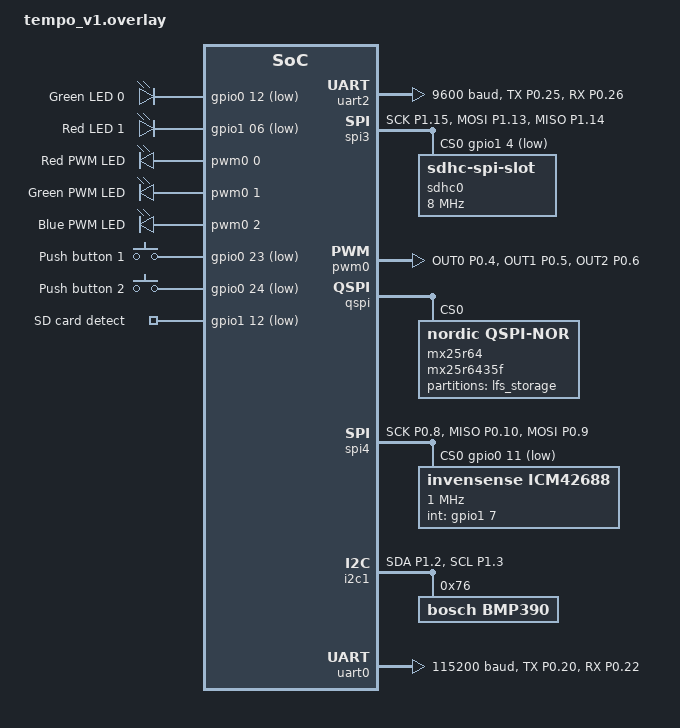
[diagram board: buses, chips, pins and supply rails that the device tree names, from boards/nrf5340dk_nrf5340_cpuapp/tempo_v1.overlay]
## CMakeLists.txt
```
#
# Copyright (c) 2018 Nordic Semiconductor
#
# SPDX-License-Identifier: LicenseRef-Nordic-5-Clause
#
cmake_minimum_required(VERSION 3.20.0)

find_package(Zephyr REQUIRED HINTS $ENV{ZEPHYR_BASE})
project(tempo-bt-v1)

# Generate version header
set(VERSION_HEADER ${CMAKE_CURRENT_BINARY_DIR}/include/generated/app_version.h)
add_custom_command(
    OUTPUT ${VERSION_HEADER}
    COMMAND ${PYTHON_EXECUTABLE} ${CMAKE_CURRENT_SOURCE_DIR}/scripts/gen_version.py ${VERSION_HEADER}
    DEPENDS ${CMAKE_CURRENT_SOURCE_DIR}/app.version
    WORKING_DIRECTORY ${CMAKE_CURRENT_SOURCE_DIR}
    COMMENT "Generating version header"
)
add_custom_target(version_header DEPENDS ${VERSION_HEADER})
add_dependencies(app version_header)

# NORDIC SDK APP START
# Add generated include directory
target_include_directories(app PRIVATE ${CMAKE_CURRENT_BINARY_DIR}/include)

# Main application sources
target_sources(app PRIVATE 
    src/main.c
    src/app_init.c
    src/events.c
    src/mcumgr_custom.c
    src/ble_mcumgr.c
)

# Configuration sources
target_sources(app PRIVATE
    src/config/settings.c
)

# Service layer sources
target_sources(app PRIVATE
    src/services/timebase.c
    src/services/gnss_m10q.c
    src/services/imu_icm42688.c
    src/services/orientation.c
    src/services/baro_bmp390.c
    src/services/aggregator.c
    src/services/storage.c
    src/services/storage_fatfs.c
    src/services/storage_littlefs.c
    src/services/logger.c
    src/services/file_writer.c
    src/services/led.c
)

# Utility sources
target_sources(app PRIVATE
    src/util/nmea_checksum.c
    src/fusion.c
    tests/test_imu.c
)

# NORDIC SDK APP END
zephyr_library_include_directories(.)
target_include_directories(app PRIVATE include)
```

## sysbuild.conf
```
SB_CONFIG_BOOTLOADER_MCUBOOT=y
SB_CONFIG_PM_EXTERNAL_FLASH_MCUBOOT_SECONDARY=y
SB_CONFIG_MCUBOOT_NRF53_MULTI_IMAGE_UPDATE=y
SB_CONFIG_SECURE_BOOT_NETCORE=y

# https://academy.nordicsemi.com/simultaneous-updates-for-both-cores-of-the-nrf5340/
SB_CONFIG_MCUBOOT_UPDATEABLE_IMAGES=2
SB_CONFIG_NETCORE_APP_UPDATE=y
SB_CONFIG_MCUBOOT_NRF53_MULTI_IMAGE_UPDATE=y
SB_CONFIG_MCUBOOT_MODE_OVERWRITE_ONLY=y
```

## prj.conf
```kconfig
#
# Copyright (c) 2018 Nordic Semiconductor
#
# SPDX-License-Identifier: LicenseRef-Nordic-5-Clause
#

# System configuration
CONFIG_MAIN_STACK_SIZE=10240
CONFIG_SYSTEM_WORKQUEUE_STACK_SIZE=4096
CONFIG_ISR_STACK_SIZE=2048
CONFIG_HEAP_MEM_POOL_SIZE=16384

# Thread configuration
CONFIG_INIT_STACKS=y
CONFIG_THREAD_STACK_INFO=y
CONFIG_THREAD_MONITOR=y
CONFIG_THREAD_NAME=y

# Logging configuration
CONFIG_LOG=y
CONFIG_LOG_BACKEND_UART=n
CONFIG_LOG_DEFAULT_LEVEL=3
CONFIG_LOG_MODE_IMMEDIATE=y
CONFIG_LOG_BACKEND_RTT=y
CONFIG_USE_SEGGER_RTT=y
CONFIG_SEGGER_RTT_BUFFER_SIZE_UP=4096
CONFIG_RTT_CONSOLE=y

# Floating Point and math support
CONFIG_FPU=y
CONFIG_CBPRINTF_FP_SUPPORT=y
CONFIG_POSIX_API=y

# Enable sensor drivers
CONFIG_SENSOR=y
CONFIG_ICM42688=y
CONFIG_SENSOR_LOG_LEVEL_DBG=n 

# Optional: Enable trigger/interrupt mode
# CONFIG_ICM42688_TRIGGER=y
# CONFIG_ICM42688_TRIGGER_GLOBAL_THREAD=y

# Drivers
CONFIG_GPIO=y
CONFIG_I2C=y
CONFIG_SPI=y
#CONFIG_SPI_NRFX=y

CONFIG_SERIAL=y
CONFIG_UART_ASYNC_API=y
CONFIG_UART_INTERRUPT_DRIVEN=n
# support reconfiguration to move to faster baudrate after init
CONFIG_UART_USE_RUNTIME_CONFIGURE=y

CONFIG_PWM=y

# Button and LED library
CONFIG_DK_LIBRARY=y

# Flash and QSPI configuration
CONFIG_FLASH=y
CONFIG_FLASH_PAGE_LAYOUT=y
CONFIG_FLASH_MAP=y
CONFIG_NORDIC_QSPI_NOR=y
CONFIG_NORDIC_QSPI_NOR_FLASH_LAYOUT_PAGE_SIZE=4096
CONFIG_NORDIC_QSPI_NOR_STACK_WRITE_BUFFER_SIZE=16
CONFIG_PM_DEVICE=y

# NVS Settings
CONFIG_SETTINGS=y
CONFIG_SETTINGS_NVS=y
CONFIG_NVS=y
CONFIG_MPU_ALLOW_FLASH_WRITE=y

# File system configuration
CONFIG_FILE_SYSTEM=y
CONFIG_FILE_SYSTEM_LITTLEFS=y
CONFIG_FS_LITTLEFS_NUM_FILES=4
CONFIG_FS_LITTLEFS_NUM_DIRS=4

# SD Card and FAT filesystem
CONFIG_DISK_ACCESS=y
CONFIG_DISK_DRIVER_SDMMC=y
CONFIG_SDHC=y
CONFIG_SDMMC_STACK=y
CONFIG_FAT_FILESYSTEM_ELM=y
CONFIG_FS_FATFS_EXFAT=y  
CONFIG_FS_FATFS_LFN=y   
CONFIG_FS_FATFS_LFN_MODE_HEAP=y
CONFIG_FS_FATFS_MAX_LFN=255
CONFIG_FS_FATFS_CODEPAGE=437  
CONFIG_FS_FATFS_NUM_FILES=8
CONFIG_FS_FATFS_NUM_DIRS=8 
CONFIG_FS_FATFS_REENTRANT=y

# Bluetooth LE configuration
CONFIG_BT=y
CONFIG_BT_PERIPHERAL=y
CONFIG_BT_DEVICE_NAME="Tempo-BT-0004"
CONFIG_BT_MAX_CONN=2
CONFIG_BT_LBS=y
CONFIG_BT_LBS_POLL_BUTTON=y
CONFIG_BT_GATT_CLIENT=y
CONFIG_BT_RX_STACK_SIZE=2048

# BLE connection parameters
CONFIG_BT_PERIPHERAL_PREF_MIN_INT=800
CONFIG_BT_PERIPHERAL_PREF_MAX_INT=800
CONFIG_BT_PERIPHERAL_PREF_LATENCY=0
CONFIG_BT_PERIPHERAL_PREF_TIMEOUT=400
CONFIG_BT_GAP_AUTO_UPDATE_CONN_PARAMS=y

# BLE PHY and data length updates
CONFIG_BT_USER_PHY_UPDATE=y
CONFIG_BT_USER_DATA_LEN_UPDATE=y

# BLE buffer configuration for mcumgr
CONFIG_BT_BUF_ACL_TX_SIZE=251
CONFIG_BT_BUF_ACL_RX_SIZE=502
CONFIG_BT_L2CAP_TX_MTU=498
CONFIG_BT_L2CAP_TX_BUF_COUNT=8
CONFIG_BT_ATT_PREPARE_COUNT=2

# mcumgr configuration
CONFIG_ZCBOR=y
CONFIG_MCUMGR=y
CONFIG_MCUMGR_GRP_FS=y
CONFIG_MCUMGR_GRP_IMG=y
CONFIG_MCUMGR_GRP_OS=y
CONFIG_MCUMGR_GRP_STAT=y

# SMP over Bluetooth
CONFIG_MCUMGR_TRANSPORT_BT=y
CONFIG_MCUMGR_TRANSPORT_BT_PERM_RW=y
CONFIG_MCUMGR_TRANSPORT_BT_CONN_PARAM_CONTROL=y

# File system management
CONFIG_MCUMGR_GRP_FS_DL_CHUNK_SIZE=256
CONFIG_MCUMGR_GRP_FS_DL_CHUNK_SIZE_LIMIT=y

# Image management for DFU
CONFIG_STREAM_FLASH=y
CONFIG_IMG_MANAGER=y
CONFIG_MCUBOOT_IMG_MANAGER=y
CONFIG_IMG_BLOCK_BUF_SIZE=512

# Shell configuration
#CONFIG_SHELL=y
#CONFIG_SHELL_BACKENDS=y
#CONFIG_SHELL_BACKEND_SERIAL=y
#CONFIG_SHELL_CMD_BUFF_SIZE=256
#CONFIG_NET_SHELL=n

CONFIG_SHELL=n

# mcumgr callbacks
CONFIG_MCUMGR_MGMT_NOTIFICATION_HOOKS=y
CONFIG_MCUMGR_GRP_FS_FILE_ACCESS_HOOK=y

# OS management
CONFIG_MCUMGR_GRP_OS_TASKSTAT=y
CONFIG_MCUMGR_GRP_OS_ECHO=y

# Statistics
CONFIG_STATS=y
CONFIG_STATS_NAMES=y
CONFIG_MCUMGR_GRP_STAT_MAX_NAME_LEN=32

# MCUboot support
CONFIG_BOOTLOADER_MCUBOOT=y
CONFIG_MCUBOOT_SIGNATURE_KEY_FILE="bootloader/mcuboot/root-rsa-2048.pem"
CONFIG_NCS_SAMPLE_MCUMGR_BT_OTA_DFU=y

# System features
CONFIG_REBOOT=y
```

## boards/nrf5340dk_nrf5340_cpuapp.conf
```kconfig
#
# Copyright (c) 2018 Nordic Semiconductor
#
# SPDX-License-Identifier: LicenseRef-Nordic-5-Clause
#

# Logger module
CONFIG_LOG=y

# Button and LED library
CONFIG_DK_LIBRARY=y

# Floating Point Unit
CONFIG_FPU=y

# Bluetooth LE
CONFIG_BT=y
CONFIG_BT_PERIPHERAL=y
CONFIG_BT_DEVICE_NAME="Tempo-BT-0004"
CONFIG_BT_LBS=y
CONFIG_BT_LBS_POLL_BUTTON=y
CONFIG_BT_GATT_CLIENT=y

# STEP 5 - Configure your preferred connection parameters
CONFIG_BT_PERIPHERAL_PREF_MIN_INT=800
CONFIG_BT_PERIPHERAL_PREF_MAX_INT=800
CONFIG_BT_PERIPHERAL_PREF_LATENCY=0
CONFIG_BT_PERIPHERAL_PREF_TIMEOUT=400
CONFIG_BT_GAP_AUTO_UPDATE_CONN_PARAMS=y

# STEP 8 - Enable PHY updates.
CONFIG_BT_USER_PHY_UPDATE=y

# STEP 12 - Update Data Length and MTU
CONFIG_BT_USER_DATA_LEN_UPDATE=y
#CONFIG_BT_BUF_ACL_RX_SIZE=251
CONFIG_BT_BUF_ACL_RX_SIZE=502
#CONFIG_BT_BUF_ACL_TX_SIZE=251
#CONFIG_BT_L2CAP_TX_MTU=247
CONFIG_BT_BUF_ACL_TX_SIZE=251
CONFIG_BT_L2CAP_TX_MTU=498

# Increase stack size for the main thread, System Workqueue, and BT RX thread
CONFIG_SYSTEM_WORKQUEUE_STACK_SIZE=2048
CONFIG_MAIN_STACK_SIZE=2048
CONFIG_BT_RX_STACK_SIZE=2048
```

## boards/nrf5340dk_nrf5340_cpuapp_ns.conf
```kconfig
#
# Copyright (c) 2018 Nordic Semiconductor
#
# SPDX-License-Identifier: LicenseRef-Nordic-5-Clause
#

# Logger module
CONFIG_LOG=y

# Button and LED library
CONFIG_DK_LIBRARY=y

# Floating Point Unit
CONFIG_FPU=y

# Bluetooth LE
CONFIG_BT=y
CONFIG_BT_PERIPHERAL=y
CONFIG_BT_DEVICE_NAME="Tempo-BT-0004"
CONFIG_BT_LBS=y
CONFIG_BT_LBS_POLL_BUTTON=y
CONFIG_BT_GATT_CLIENT=y

# STEP 5 - Configure your preferred connection parameters
CONFIG_BT_PERIPHERAL_PREF_MIN_INT=800
CONFIG_BT_PERIPHERAL_PREF_MAX_INT=800
CONFIG_BT_PERIPHERAL_PREF_LATENCY=0
CONFIG_BT_PERIPHERAL_PREF_TIMEOUT=400
CONFIG_BT_GAP_AUTO_UPDATE_CONN_PARAMS=y

# STEP 8 - Enable PHY updates.
CONFIG_BT_USER_PHY_UPDATE=y

# STEP 12 - Update Data Length and MTU
CONFIG_BT_USER_DATA_LEN_UPDATE=y
CONFIG_BT_BUF_ACL_RX_SIZE=251
CONFIG_BT_BUF_ACL_TX_SIZE=251
CONFIG_BT_L2CAP_TX_MTU=247

# Increase stack size for the main thread, System Workqueue, and BT RX thread
CONFIG_SYSTEM_WORKQUEUE_STACK_SIZE=2048
CONFIG_MAIN_STACK_SIZE=2048
CONFIG_BT_RX_STACK_SIZE=2048
```

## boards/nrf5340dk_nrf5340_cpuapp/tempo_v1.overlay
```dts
/*
 * Copyright (c) 2025 Riley Rainey
 * SPDX-License-Identifier: Apache-2.0
 *
 * Tempo-BT V1 Board Overlay
 * Golden board definition
 */

 #include <zephyr/dt-bindings/sensor/icm42688.h>

 /* 
&rtc0 {
    status = "okay";
};
*/

/* UART for SAM-M10Q GNSS */
&uart2 {
    status = "okay";
    current-speed = <9600>;  /* SAM-M10Q default baud rate */
    pinctrl-0 = <&uart2_default>;
    pinctrl-1 = <&uart2_sleep>;
    pinctrl-names = "default", "sleep";
    /* No hw-flow-control property = flow control disabled */
};

/* SPI3 for SD Card */
&spi3 {
    compatible = "nordic,nrf-spim";
    status = "okay";
    cs-gpios = <&gpio1 4 (GPIO_ACTIVE_LOW | GPIO_PULL_UP)>;  /* P1.04 for CS */
    pinctrl-0 = <&spi3_default>;
    pinctrl-1 = <&spi3_sleep>;
    pinctrl-names = "default", "sleep";
    
    /* SD Card using SPI mode */
    sdhc0: sdhc@0 {
        compatible = "zephyr,sdhc-spi-slot";
        reg = <0>;
        spi-max-frequency = <8000000>;  /* Start at 8MHz, SD cards support up to 25MHz in SPI mode */
        mmc {
            compatible = "zephyr,sdmmc-disk";
            disk-name = "SD";
            status = "okay";
        };
    };
};

/* Enable RGB LED */
&pwm0 {
    status = "okay";
    pinctrl-0 = <&pwm0_default>;
    pinctrl-1 = <&pwm0_sleep>;
    pinctrl-names = "default", "sleep";
};

/ {
    /* STANDARD LEDs */
    leds {
		compatible = "gpio-leds";
        status = "okay";
		led0: led_0 {
			gpios = <&gpio0 12 GPIO_ACTIVE_LOW>;
			label = "Green LED 0";
		};
		led1: led_1 {
			gpios = <&gpio1 06 GPIO_ACTIVE_LOW>;
			label = "Red LED 1";
		};
	};

    /* RGB LED */
    pwmleds {
		compatible = "pwm-leds";
		status = "okay";
		pwm_led0: pwm_led_0 {
			/* Try without polarity inversion first */
			pwms = <&pwm0 0 PWM_MSEC(20) PWM_POLARITY_NORMAL>;
			label = "Red PWM LED";
		};
		pwm_led1: pwm_led_1 {
			pwms = <&pwm0 1 PWM_MSEC(20) PWM_POLARITY_NORMAL>;
			label = "Green PWM LED";
		};
		pwm_led2: pwm_led_2 {
			pwms = <&pwm0 2 PWM_MSEC(20) PWM_POLARITY_NORMAL>;
			label = "Blue PWM LED";
		};
	};

    /* OPTIONAL HARDWARE-DEBOUNCED PUSHBUTTONS */
    buttons {
		compatible = "gpio-keys";
        status = "okay";
		button0: button_0 {
			gpios = <&gpio0 23 (GPIO_PULL_UP | GPIO_ACTIVE_LOW)>;
			label = "Push button 1";
			zephyr,code = <INPUT_KEY_0>;
		};
		button1: button_1 {
			gpios = <&gpio0 24 (GPIO_PULL_UP | GPIO_ACTIVE_LOW)>;
			label = "Push button 2";
			zephyr,code = <INPUT_KEY_1>;
		};
	};

    sdcard_detect: sdcard_detect {
        compatible = "gpio-keys";
        sdcard_detect_pin: sdcard_detect_pin {
            gpios = <&gpio1 12 (GPIO_PULL_UP | GPIO_ACTIVE_LOW)>; 
            label = "SD card detect";
        };
    };

    gpio_fwd: nrf-gpio-forwarder {
		compatible = "nordic,nrf-gpio-forwarder";
		status = "okay";

		uart {
			gpios = <&gpio1 1 0>, <&gpio1 0 0>, <&gpio0 28 0>, <&gpio0 29 0>;
		};
	};

    aliases {
        imu0 = &icm42688;
        spi-flash0 = &mx25r64;
        sw0 = &button0;
        sw1 = &button1;
        /* rtc0 = &rtc0; */
    };

    chosen {
        /* Zephyr console on UART0 (default) */
        zephyr,console = &uart0;
        zephyr,shell-uart = &uart0;
        nordic,pm-ext-flash = &mx25r64;
    };
};

/* QSPI NOR Flash - MX25R6435F (64 Mbit) */
&qspi {
    status = "okay";
    
    mx25r64: mx25r6435f@0 {
        status = "okay";
        compatible = "nordic,qspi-nor";
        reg = <0>;
        
        /* MX25R6435F supports up to 80MHz in SDR mode */
        sck-frequency = <8000000>; /* Start conservative at 8MHz */
        
        /* JEDEC ID for MX25R6435F */
        jedec-id = [c2 28 17];
        
        /* 64 Mbit = 8 MByte */
        size = <67108864>;
        
        /* Memory organization */
        has-dpd;
        t-enter-dpd = <10000>;
        t-exit-dpd = <35000>;
        
        /* Quad mode configuration */
        quad-enable-requirements = "S1B6";
        
        /* Read modes supported */
        readoc = "read4io";
        writeoc = "pp4io";
        
        partitions {
            compatible = "fixed-partitions";
            #address-cells = <1>;
            #size-cells = <1>;
            
            lfs_storage: partition@0 {
                label = "lfs_storage";
                reg = <0x00000000 0x00800000>;  /* 8MB */
            };
        };
    };
};

/* SPI4 for IMU - Task 16 */
&spi4 {
    compatible = "nordic,nrf-spim";
    status = "okay";
    cs-gpios = <&gpio0 11 GPIO_ACTIVE_LOW>;  /* P0.11 for CS */
    pinctrl-0 = <&spi4_default>;
    pinctrl-1 = <&spi4_sleep>;
    pinctrl-names = "default", "sleep";
    
    /* ICM-42688-V; requires driver patch for WHO_AM_I to correctly ID the chip */
    icm42688: icm42688@0 {
        compatible = "invensense,icm42688";
        status = "okay";
        reg = <0>;
        spi-max-frequency = <1000000>;
        int-gpios = <&gpio1 7 GPIO_ACTIVE_HIGH>;
        accel-pwr-mode = <ICM42688_DT_ACCEL_LN>;
        accel-fs = <ICM42688_DT_ACCEL_FS_16>;
        accel-odr = <ICM42688_DT_ACCEL_ODR_200>;
        gyro-pwr-mode= <ICM42688_DT_GYRO_LN>;
        gyro-fs = <ICM42688_DT_GYRO_FS_2000>;
        gyro-odr = <ICM42688_DT_GYRO_ODR_200>;
        zephyr,deferred-init;
    };
};

/* I2C1 for Barometer and Magnetometer */
&i2c1 {
	compatible = "nordic,nrf-twim";
	status = "okay";
	pinctrl-0 = <&i2c1_default>;
	pinctrl-1 = <&i2c1_sleep>;
	pinctrl-names = "default", "sleep";
    
    bmp390: bmp390@76 {
        compatible = "bosch,bmp390";
        reg = <0x76>;
        label = "BMP390";
    };
    
    /* 
    mmc5983ma: mmc5983ma@30 {
        compatible = "memsic,mmc5983ma";
        reg = <0x30>;
        label = "MMC5983MA";
    };
    */
};

/* APP_NORA UART */
&uart0 {
    status = "okay";
    current-speed = <115200>;
    pinctrl-0 = <&uart0_default>;
    pinctrl-1 = <&uart0_sleep>;
    pinctrl-names = "default", "sleep";
    /* No hw-flow-control property = flow control disabled */
};

/* UART for GNSS - Using uart2 */
&uart2 {
    status = "okay";
    current-speed = <9600>;  /* SAM-M10Q default baud rate */
    pinctrl-0 = <&uart2_default>;
    pinctrl-1 = <&uart2_sleep>;
    pinctrl-names = "default", "sleep";
    /* No hw-flow-control property = flow control disabled */
};

/* uart2 pin configuration - TX/RX only, RTS/CTS explicitly disconnected */
&pinctrl {

    i2c1_default: i2c1_default {
		group1 {
			psels = <NRF_PSEL(TWIM_SDA, 1, 2)>,
				<NRF_PSEL(TWIM_SCL, 1, 3)>;
		};
	};

	i2c1_sleep: i2c1_sleep {
		group1 {
			psels = <NRF_PSEL(TWIM_SDA, 1, 2)>,
				<NRF_PSEL(TWIM_SCL, 1, 3)>;
			low-power-enable;
		};
	};

    uart0_default: uart0_default {
        group1 {
            psels = <NRF_PSEL(UART_TX, 0, 20)>,   /* P0.20 APP_NORA_TX */
                    <NRF_PSEL(UART_RX, 0, 22)>;   /* P0.22 APP_NORA_RX */
        };
        group2 {
            psels = <NRF_PSEL(UART_RTS, 0, 0xFFFFFFFF)>,  /* Disconnected */
                    <NRF_PSEL(UART_CTS, 0, 0xFFFFFFFF)>;  /* Disconnected */
        };
    };

    uart0_sleep: uart0_sleep {
        group1 {
            psels = <NRF_PSEL(UART_TX, 0, 20)>,
                    <NRF_PSEL(UART_RX, 0, 22)>;
            low-power-enable;
        };
        group2 {
            psels = <NRF_PSEL(UART_RTS, 0, 0xFFFFFFFF)>,
                    <NRF_PSEL(UART_CTS, 0, 0xFFFFFFFF)>;
            low-power-enable;
        };
    };

    uart2_default: uart2_default {
        group1 {
            psels = <NRF_PSEL(UART_TX, 0, 25)>,   /* P0.25 (VCOM1_TX) -> GNSS RX */
                    <NRF_PSEL(UART_RX, 0, 26)>;   /* P0.26 (VCOM1_RX) <- GNSS TX */
        };
        group2 {
            psels = <NRF_PSEL(UART_RTS, 0, 0xFFFFFFFF)>,  /* Disconnected */
                    <NRF_PSEL(UART_CTS, 0, 0xFFFFFFFF)>;  /* Disconnected */
        };
    };

    uart2_sleep: uart2_sleep {
        group1 {
            psels = <NRF_PSEL(UART_TX, 0, 25)>,
                    <NRF_PSEL(UART_RX, 0, 26)>;
            low-power-enable;
        };
        group2 {
            psels = <NRF_PSEL(UART_RTS, 0, 0xFFFFFFFF)>,
                    <NRF_PSEL(UART_CTS, 0, 0xFFFFFFFF)>;
            low-power-enable;
        };
    };

    spi3_default: spi3_default {
        group1 {
            psels = <NRF_PSEL(SPIM_SCK, 1, 15)>,  /* P1.15 FLASH_SCK */
                    <NRF_PSEL(SPIM_MOSI, 1, 13)>; /* P1.13 FLASH_MOSI */
        };
        group2 {
            psels = <NRF_PSEL(SPIM_MISO, 1, 14)>;  /* P1.14 FLASH_MISO */
            bias-pull-up;                          /* Enable pull-up on MISO */
        };
    };

    spi3_sleep: spi3_sleep {
        group1 {
            psels = <NRF_PSEL(SPIM_SCK, 1, 15)>,
                    <NRF_PSEL(SPIM_MOSI, 1, 13)>;
        };
        group2 {
            psels = <NRF_PSEL(SPIM_MISO, 1, 14)>;
            bias-pull-up;  /* Enable pull-up on MISO */
        };
    };

    spi4_default: spi4_default {
		group1 {
			psels = <NRF_PSEL(SPIM_SCK, 0, 8)>,// mikroBUS slot 1
				<NRF_PSEL(SPIM_MISO, 0, 10)>,// mikroBUS slot 1
				<NRF_PSEL(SPIM_MOSI, 0, 9)>;// mikroBUS slot 1
		};
	};

	spi4_sleep: spi4_sleep {
		group1 {
			psels = <NRF_PSEL(SPIM_SCK, 0, 8)>,// mikroBUS slot 1
				<NRF_PSEL(SPIM_MISO, 0, 10)>,// mikroBUS slot 1
				<NRF_PSEL(SPIM_MOSI, 0, 9)>;// mikroBUS slot 1
			low-power-enable;
		};
	};

    pwm0_default: pwm0_default {
		group1 {
			psels = <NRF_PSEL(PWM_OUT0, 0, 4)>,
				<NRF_PSEL(PWM_OUT1, 0, 5)>,
				<NRF_PSEL(PWM_OUT2, 0, 6)>;
			nordic,invert; 
		};
	};

	pwm0_sleep: pwm0_sleep {
		group1 {
			psels = <NRF_PSEL(PWM_OUT0, 0, 4)>,
				<NRF_PSEL(PWM_OUT1, 0, 5)>,
				<NRF_PSEL(PWM_OUT2, 0, 6)>;
			nordic,invert;
			low-power-enable;
		};
	};
};

&button2 {
    status = "disabled";
};

&button3 {
    status = "disabled";
};
```

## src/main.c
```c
/*
 * SPDX-License-Identifier: Apache-2.0
 * 
 * Tempo-BT V1 - Main Application Entry
 */

#include <zephyr/kernel.h>
#include <zephyr/logging/log.h>
#include <zephyr/drivers/uart.h>
#include <zephyr/device.h>
#include <zephyr/drivers/flash.h>
#include <zephyr/drivers/gpio.h>
#include <zephyr/fs/fs.h>
#include <string.h>

#include "app_init.h"
#include "app/events.h"
#include "config/settings.h"

#include "services/timebase.h"
#include "services/storage.h"
#include "services/file_writer.h"
#include "services/gnss.h"
#include "services/imu.h"
#include "services/baro.h"
#include "services/logger.h"
#include "services/led.h"
#include "services/aggregator.h"
#include "util/nmea_checksum.h"

LOG_MODULE_REGISTER(main, LOG_LEVEL_INF);

 /* Register barometer callback with logger for takeoff detection */
//extern void logger_register_baro_callback(baro_data_callback_t callback);
//extern void logger_baro_handler(const baro_sample_t *sample);

/* Also register with aggregator for logging */
extern void aggregator_register_baro_callback(baro_data_callback_t callback);

/*
 * Button handling for logger control
 */

#define BUTTON_DEBOUNCE_DELAY_MS 50
#define BUTTON_LONG_PRESS_MS     2000

/* Button GPIO specs from device tree */
#define SW0_NODE DT_ALIAS(sw0)
#define SW1_NODE DT_ALIAS(sw1)

#define LED0_NODE DT_ALIAS(led1)
static const struct gpio_dt_spec led = GPIO_DT_SPEC_GET(LED0_NODE, gpios);

#if DT_NODE_HAS_STATUS(SW0_NODE, okay)
static const struct gpio_dt_spec button0 = GPIO_DT_SPEC_GET(SW0_NODE, gpios);
static struct gpio_callback button0_cb_data;
static struct k_work_delayable button0_work;
static int64_t button0_press_time;
#endif

#if DT_NODE_HAS_STATUS(SW1_NODE, okay)
static const struct gpio_dt_spec button1 = GPIO_DT_SPEC_GET(SW1_NODE, gpios);
static struct gpio_callback button1_cb_data;
#endif

/* Button work handler for long press detection */
static void button0_work_handler(struct k_work *work)
{
    ARG_UNUSED(work);
    
    /* Check if button is still pressed */
    int val = gpio_pin_get_dt(&button0);
    if (val == 1) { /* Active low, so 1 means pressed */
        int64_t press_duration = k_uptime_get() - button0_press_time;
        
        if (press_duration >= BUTTON_LONG_PRESS_MS) {
            LOG_INF("Button 0 long press detected");
            
            /* Toggle between idle and armed states */
            logger_state_t state = logger_get_state();
            if (state == LOGGER_STATE_IDLE) {
                logger_arm();
            } else if (state == LOGGER_STATE_ARMED) {
                logger_disarm();
            }
        }
    }
}

/* Button interrupt callbacks */
static void button0_pressed(const struct device *dev, struct gpio_callback *cb,
                            uint32_t pins)
{
    ARG_UNUSED(dev);
    ARG_UNUSED(cb);
    ARG_UNUSED(pins);
    
    button0_press_time = k_uptime_get();
    
    /* Schedule work to check for long press */
    k_work_reschedule(&button0_work, K_MSEC(BUTTON_LONG_PRESS_MS));
}

static void button0_released(const struct device *dev, struct gpio_callback *cb,
                             uint32_t pins)
{
    ARG_UNUSED(dev);
    ARG_UNUSED(cb);
    ARG_UNUSED(pins);
    
    /* Cancel long press detection */
    k_work_cancel_delayable(&button0_work);
    
    int64_t press_duration = k_uptime_get() - button0_press_time;
    
    if (press_duration < BUTTON_LONG_PRESS_MS && 
        press_duration > BUTTON_DEBOUNCE_DELAY_MS) {
        LOG_INF("Button 0 short press detected");
        
        /* Short press: start/stop logging */
        logger_state_t state = logger_get_state();
        if (state == LOGGER_STATE_ARMED) {
            logger_start();
        } else if (state == LOGGER_STATE_LOGGING) {
            logger_stop();
        }
    }
}

#if DT_NODE_HAS_STATUS(SW1_NODE, okay)
static void button1_pressed(const struct device *dev, struct gpio_callback *cb,
                            uint32_t pins)
{
    ARG_UNUSED(dev);
    ARG_UNUSED(cb);
    ARG_UNUSED(pins);
    
    LOG_INF("Button 1 pressed");
    
    /* Button 1 could be used for other functions like:
     * - Force flush
     * - Mark waypoint
     * - Switch logging mode
     */
}
#endif

static void button0_isr(const struct device *dev, struct gpio_callback *cb, uint32_t pins)
{
    ARG_UNUSED(dev);
    ARG_UNUSED(cb);
    ARG_UNUSED(pins);

    int val = gpio_pin_get_dt(&button0);
    if (val == 1) { /* Pressed (active low) */
        button0_pressed(dev, cb, pins);
    } else {
        button0_released(dev, cb, pins);
    }
}

/* Initialize button handling */
int buttons_init(void)
{
    int ret;
    
#if DT_NODE_HAS_STATUS(SW0_NODE, okay)
    if (!device_is_ready(button0.port)) {
        LOG_ERR("Button 0 device not ready");
        return -ENODEV;
    }
    
    ret = gpio_pin_configure_dt(&button0, GPIO_INPUT);
    if (ret != 0) {
        LOG_ERR("Failed to configure button 0: %d", ret);
        return ret;
    }
    
    ret = gpio_pin_interrupt_configure_dt(&button0, GPIO_INT_EDGE_BOTH);
    if (ret != 0) {
        LOG_ERR("Failed to configure button 0 interrupt: %d", ret);
        return ret;
    }
    
    k_work_init_delayable(&button0_work, button0_work_handler);
    
    gpio_init_callback(&button0_cb_data, 
                       button0_isr,
                       BIT(button0.pin));
    
    gpio_add_callback(button0.port, &button0_cb_data);
    
    LOG_INF("Button 0 initialized");
#endif

#if DT_NODE_HAS_STATUS(SW1_NODE, okay)
    if (!device_is_ready(button1.port)) {
        LOG_ERR("Button 1 device not ready");
        return -ENODEV;
    }
    
    ret = gpio_pin_configure_dt(&button1, GPIO_INPUT);
    if (ret != 0) {
        LOG_ERR("Failed to configure button 1: %d", ret);
        return ret;
    }
    
    ret = gpio_pin_interrupt_configure_dt(&button1, GPIO_INT_EDGE_TO_ACTIVE);
    if (ret != 0) {
        LOG_ERR("Failed to configure button 1 interrupt: %d", ret);
        return ret;
    }
    
    gpio_init_callback(&button1_cb_data, button1_pressed, BIT(button1.pin));
    gpio_add_callback(button1.port, &button1_cb_data);
    
    LOG_INF("Button 1 initialized");
#endif

    return 0;
}

/* State change handler */
static void update_led_for_state(logger_state_t state)
{
    switch (state) {
    case LOGGER_STATE_IDLE:
        /* Blue slow blink for idle */
        set_color_led_state(RGB_BLUE, true);
        LOG_INF("LED: Blue (idle)");
        break;
        
    case LOGGER_STATE_ARMED:
        /* Green slow blink for armed */
        set_color_led_state(RGB_GREEN, true);
        LOG_INF("LED: Green (armed)");
        break;
        
    case LOGGER_STATE_LOGGING:
        /* Red slow blink for logging */
        set_color_led_state(RGB_RED, true);
        LOG_INF("LED: Red (logging)");
        break;
        
    case LOGGER_STATE_ERROR:
    default:
        /* Orange slow blink for error */
        set_color_led_state(RGB_ORANGE, true);
        LOG_INF("LED: Orange (error)");
        break;
    }
}

/* Event handler for state changes */
static void led_event_handler(const app_event_t *event, void *user_data)
{
    ARG_UNUSED(user_data);
    
    switch (event->type) {
    case EVT_MODE_CHANGE:
        /* Update LED based on logger state */
        update_led_for_state(logger_get_state());
        break;
        
    case EVT_STORAGE_ERROR:
    case EVT_SENSOR_ERROR:
        /* Flash orange for errors */
        set_color_led_state(RGB_ORANGE, true);
        break;
        
    case EVT_STORAGE_LOW:
        /* Could flash yellow as warning */
        break;
        
    default:
        break;
    }
}


/* Event subscriber for LED */
static event_subscriber_t led_subscriber;


/* Alternative: Manual state indication without events */
static void indicate_system_error(const char *error_msg)
{
    LOG_ERR("%s", error_msg);
    set_color_led_state(RGB_ORANGE, true);
}

static void indicate_system_ready(void)
{
    LOG_INF("System ready");
    set_color_led_state(RGB_BLUE, true);
}

#if 0
/* Example usage in button handlers: */
static void button0_work_handler_with_led(struct k_work *work)
{
    /* ... existing code ... */
    
    if (press_duration >= BUTTON_LONG_PRESS_MS) {
        logger_state_t state = logger_get_state();
        if (state == LOGGER_STATE_IDLE) {
            logger_arm();
            set_color_led_state(RGB_GREEN, true);  /* Armed */
        } else if (state == LOGGER_STATE_ARMED) {
            logger_disarm();
            set_color_led_state(RGB_BLUE, true);   /* Back to idle */
        }
    }
}


/* Special patterns for specific conditions */
static void indicate_storage_full(void)
{
    /* Could implement a fast blink or different pattern */
    set_color_led_state(RGB_MAGENTA, true);
}

static void indicate_gnss_lock(void)
{
    /* Brief green flash when GNSS gets lock */
    set_color_led_state(RGB_GREEN, true);
    k_msleep(100);
    /* Return to current state color */
    update_led_for_state(logger_get_state());
}

static void test_version_output(const char *line, size_t len)
{
    /* Print to console for verification */
    //printk("Generated: %.*s", len, line);
    
    /* Verify checksum */
    if (!nmea_verify_checksum(line, len)) {
        printk("Checksum error!\n");
    }
}
#endif

int main(void)
{
    int ret;

    const struct device *uart = DEVICE_DT_GET(DT_CHOSEN(zephyr_console));
    if (device_is_ready(uart)) {
        for (const char *p = "UART TEST\r\n"; *p; p++) {
            uart_poll_out(uart, *p);
        }
    }
    
    //printk("boot\n");
    LOG_INF("Tempo-BT V1 started successfully");

    if (!gpio_is_ready_dt(&led)) {
		//return 0;
	}
	ret = gpio_pin_configure_dt(&led, GPIO_OUTPUT_ACTIVE);

    ret = buttons_init();
    if (ret < 0) {
        LOG_ERR("Failed to initialize buttons: %d", ret);
    }   

    // Initialize storage first
    ret = app_storage_init(); 
    if (ret < 0) {
        LOG_ERR("Failed to initialize storage: %d", ret);
        return ret;
    }

    // Now initialize app (which includes BLE/mcumgr)

    LOG_INF("Calling app_init()");
    ret = app_init();
    if (ret < 0) {
        LOG_ERR("Failed to initialize app: %d", ret);
    }

    /* Initialize event bus */
    ret = event_bus_init();
    if (ret < 0) {
        LOG_ERR("Failed to initialize event bus: %d", ret);
    }
    
#if 0
    /* Subscribe to test events */
    ret = event_bus_subscribe(&test_subscriber, 
                             test_event_handler,
                             (1U << EVT_TEST_DUMMY) | (1U << EVT_MODE_CHANGE),
                             NULL);
    if (ret < 0) {
        LOG_ERR("Failed to subscribe to events: %d", ret);
    }
    
    /* Publish a test event */
    LOG_INF("Publishing test event");
    event_bus_publish_simple(EVT_TEST_DUMMY);
    
    /* Give event thread time to process */
    k_msleep(10);
    
    /* Test settings */
    LOG_INF("About to test settings...");
    app_settings_test();
    LOG_INF("Settings test done");
#endif
    
    /* Initialize timebase */
    LOG_INF("About to init timebase...");
    ret = timebase_init();
    if (ret < 0) {
        LOG_ERR("Failed to initialize timebase: %d", ret);
    }
    LOG_INF("Timebase init done");

    ret = aggregator_init();
    if (ret < 0) {
        LOG_ERR("Failed to initialize aggregator: %d", ret);
    }
    LOG_INF("Aggregator init done");    

    //aggregator_register_output_callback(test_version_output);
    //aggregator_write_version();

    //logger_register_baro_callback(logger_baro_handler);
    
    /* Register both callbacks with barometer service */
    extern void logger_baro_handler(const baro_sample_t *sample);
    
    /* Register the logger's barometer callback for takeoff detection */
    ret = baro_register_callback(logger_baro_handler);
    if (ret < 0) {
        LOG_ERR("Failed to register logger baro callback: %d", ret);
        /* Non-critical - continue without automatic takeoff detection */
    } else {
        LOG_INF("Logger barometer callback registered for takeoff detection");
    }
    
    #if 0
    /* Test monotonic timer */
    LOG_INF("Testing monotonic timer...");
    uint64_t t1 = time_now_us();
    k_msleep(10);
    uint64_t t2 = time_now_us();
    LOG_INF("10ms sleep measured as %llu us", t2 - t1);
    
    /* Test UTC correlation (should fail initially) */
    uint64_t utc_ms;
    if (timebase_mono_to_utc(time_now_us(), &utc_ms)) {
        LOG_INF("UTC time available: %llu ms", utc_ms);
    } else {
        LOG_INF("UTC correlation not available yet: %s", 
                timebase_utc_string_placeholder());
    }
    
    LOG_INF("About to check QSPI flash...");
    
    /* Check if QSPI flash device is ready */
    const struct device *flash_dev = DEVICE_DT_GET(DT_NODELABEL(mx25r64));
    if (!device_is_ready(flash_dev)) {
        LOG_ERR("QSPI flash device not ready");
    } else {
        LOG_INF("QSPI flash device is ready");
        
        /* Get flash parameters */
        const struct flash_parameters *flash_params = flash_get_parameters(flash_dev);
        LOG_INF("Flash write block size: %d", flash_params->write_block_size);
        
        /* Get flash size */
        uint64_t flash_size;
        int res = flash_get_size(flash_dev, &flash_size);
        if (res == 0) {
            LOG_INF("Flash size: %llu bytes", flash_size);
        }
        
        /* Try to get page info */
        struct flash_pages_info info;
        ret = flash_get_page_info_by_offs(flash_dev, 0, &info);
        if (ret == 0) {
            LOG_INF("Flash page size: %d, start offset: 0x%x", 
                    info.size, (unsigned int)info.start_offset);
        }
    }
    #endif

    /* Initialize GNSS */
    LOG_INF("Initializing GNSS...");
    ret = gnss_init();
    if (ret < 0) {
        LOG_ERR("Failed to initialize GNSS: %d", ret);
        /* GNSS failure is not critical - continue without it */
    } else {
        LOG_INF("GNSS initialized successfully");
        
        /* Configure GNSS for skydiving operations */
        ret = gnss_init_skydiving();
        if (ret < 0) {
            LOG_WRN("Failed to configure GNSS for skydiving: %d", ret);
            /* Try manual configuration as fallback */
            ret = gnss_set_dynmodel(GNSS_DYNMODEL_AIRBORNE_4G);
            if (ret < 0) {
                LOG_ERR("Failed to set airborne 4g model: %d", ret);
            }
        }
        
        /* Set initial rate to 1Hz (will increase during freefall) */
        ret = gnss_set_rate(1);
        if (ret < 0) {
            LOG_WRN("Failed to set GNSS rate: %d", ret);
        }
    }

    /* Initialize Barometer */
    LOG_INF("Initializing BMP390 barometer...");
    ret = baro_init();
    if (ret < 0) {
        LOG_ERR("Failed to initialize barometer: %d", ret);
        /* Barometer is critical for takeoff detection */
        indicate_system_error("Barometer init failed");
        return ret;
    } else {
        LOG_INF("Barometer initialized successfully");
        
        /* Configure for flight operations - higher rate for better takeoff detection */
        baro_config_t baro_cfg = {
            .odr_hz = 8,  /* 8 Hz for good takeoff detection */
            .pressure_oversampling = 4,
            .temperature_oversampling = 1,
            .iir_filter_coeff = 3,
            .enable_data_ready_int = true
        };
        
        ret = baro_configure(&baro_cfg);
        if (ret < 0) {
            LOG_WRN("Failed to configure barometer: %d", ret);
        }
        
        /* Start barometer measurements */
        ret = baro_start();
        if (ret < 0) {
            LOG_ERR("Failed to start barometer: %d", ret);
            return ret;
        }
        
        LOG_INF("Barometer measurements started at 8 Hz");
    }

#if 0
    /* Initialize IMU - but skip it for now due to hardware issues */
    LOG_INF("About to init IMU...");
    ret = imu_init();
    if (ret < 0) {
        LOG_ERR("Failed to initialize IMU: %d", ret);
    } else {
        LOG_INF("IMU initialized successfully");
    }

#ifdef CONFIG_SHELL

    //orientation_test_init();
    extern int imu_test_init(void);

    imu_test_init();

#endif
    

    /* Test Barometer (BMP390) */
    LOG_INF("Testing BMP390 barometer...");
    extern int test_baro(void);
    ret = test_baro();
    if (ret < 0) {
        LOG_ERR("Barometer test failed: %d", ret);
    } else {
        LOG_INF("Barometer test completed successfully");
    }
    #endif

    ret = file_writer_init(NULL);  // Use default config
    if (ret < 0) {
        LOG_ERR("Failed to initialize file writer: %d", ret);
    }

    logger_config_t logger_cfg = {
        .base_path = "/logs",
        .use_date_folders = true,
        .use_uuid_names = true,
        .imu_rate_hz = 40,      /* IMU disabled but keep config */
        .env_rate_hz = 4,       /* Barometer data at 4 Hz in logs */
        .gnss_rate_hz = 1,      /* GPS at 1 Hz normally */
        .enable_quaternion = false,  /* No IMU, so no quaternion */
        .enable_magnetometer = false,
        .auto_start_on_takeoff = true,   /* ENABLE THIS for automatic detection */
        .auto_stop_on_landing = true     /* Also enable automatic stop */
    };

    ret = logger_init(&logger_cfg);
    if (ret < 0) {
        LOG_ERR("Failed to initialize logger: %d", ret);
    }

    /* Initialize LED service */
    ret = led_service_init();
    if (ret < 0) {
        LOG_ERR("Failed to initialize LED service: %d", ret);
        /* Non-critical, continue without LED */
    } else {
        /* Subscribe to events for LED updates */
        ret = event_bus_subscribe(&led_subscriber, 
                                 led_event_handler,
                                 (1U << EVT_MODE_CHANGE) | 
                                 (1U << EVT_STORAGE_ERROR) |
                                 (1U << EVT_SENSOR_ERROR),
                                 NULL);
        if (ret < 0) {
            LOG_ERR("Failed to subscribe LED to events: %d", ret);
        }
        
        /* Set initial state */
        update_led_for_state(logger_get_state());
    }
    
    LOG_INF("System initialization complete");

    indicate_system_ready();

    // Main thread idle loop
    while (1) {
        /* Log health status periodically */
        k_sleep(K_SECONDS(30));

        //ret = gpio_pin_toggle_dt(&led);
        
#if 0
        /* Get storage stats */
        uint64_t free_bytes, total_bytes;
        if (storage_get_free_space(&free_bytes, &total_bytes) == 0) {
            LOG_INF("Storage: %llu MB free of %llu MB", 
                    free_bytes / (1024*1024), total_bytes / (1024*1024));
        }
#endif
    }
    
    return 0;
}
```

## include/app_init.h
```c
/*
 * SPDX-License-Identifier: Apache-2.0
 * 
 * Tempo-BT V1 - Application Initialization Header
 */

#ifndef APP_INIT_H
#define APP_INIT_H

int app_init(void);

/**
 * @brief Initialize the storage subsystem
 * 
 * Mounts LittleFS and creates necessary directories
 * 
 * @return 0 on success, negative error code on failure
 */
int app_storage_init(void);

#endif /* APP_INIT_H */
```

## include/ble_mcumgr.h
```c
#ifndef BLE_MCUMGR_H
#define BLE_MCUMGR_H

extern int ble_mcumgr_init(void);

#endif /* BLE_MCUMGR_H */
```

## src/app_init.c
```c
/*
 * SPDX-License-Identifier: Apache-2.0
 * 
 * Tempo-BT V1 - Application Initialization
 */

#define PM_lfs_storage_ID PM_littlefs_storage_ID

#include <zephyr/kernel.h>
#include <zephyr/logging/log.h>
#include <zephyr/fs/fs.h>
#include <zephyr/fs/littlefs.h>
#include <zephyr/storage/flash_map.h>
#include <zephyr/device.h>
#include <zephyr/devicetree.h>
#include <zephyr/dfu/mcuboot.h>
#include <zephyr/mgmt/mcumgr/mgmt/mgmt.h>
#include <zephyr/mgmt/mcumgr/mgmt/callbacks.h>

#include <zephyr/bluetooth/bluetooth.h>
#include <zephyr/bluetooth/conn.h>

LOG_MODULE_REGISTER(app_init, LOG_LEVEL_INF);

#include "ble_mcumgr.h"
#include "services/logger.h"
#include "services/storage.h"

extern void tempo_mgmt_register(void);

/* DFU safety callback */
static enum mgmt_cb_return dfu_mgmt_action(uint32_t event, enum mgmt_cb_return prev_status,
				       int32_t *rc, uint16_t *group, bool *abort_more, void *data,
				       size_t data_size)
{
    if (event == MGMT_EVT_OP_IMG_MGMT_DFU_CHUNK) {
        /* Check if logging is active */
        logger_state_t state = logger_get_state();
        if (state == LOGGER_STATE_LOGGING) {
            LOG_WRN("DFU blocked: logging in progress");
            *abort_more = true;
            return MGMT_CB_ERROR_RC;
        }
    }
    
    return MGMT_CB_OK;
}

static struct mgmt_callback dfu_mgmt_cb = {
    .callback = dfu_mgmt_action,
    .event_id = MGMT_EVT_OP_IMG_MGMT_DFU_CHUNK,
};

/* Register DFU safety callback */
void dfu_safety_init(void)
{
    mgmt_callback_register(&dfu_mgmt_cb);
    LOG_INF("DFU safety callback registered");
}

/* Get the partition ID directly */
#define STORAGE_PARTITION_ID FIXED_PARTITION_ID(lfs_storage)

/* LittleFS work buffer and cache configuration */
FS_LITTLEFS_DECLARE_DEFAULT_CONFIG(littlefs_storage);

#if 0
/* Mount point - renamed to avoid conflict with lfs_mount function */
static struct fs_mount_t storage_mount_point = {
    .type = FS_LITTLEFS,
    .fs_data = &littlefs_storage,
    .storage_dev = (void *)STORAGE_PARTITION_ID,
    .mnt_point = "/lfs",
};
#endif

int app_storage_init(void)
{
    int ret;

    /* Try to initialize with auto-detection */
    ret = storage_auto_init();
    if (ret != 0) {
        LOG_ERR("Failed to initialize storage: %d", ret);
        return ret;
    }

    /* Get backend info */
    storage_backend_t backend = storage_get_backend();
    const char *backend_name = (backend == STORAGE_BACKEND_FATFS) ? "SD card" : "internal flash";
    
    LOG_INF("Storage initialized using %s", backend_name);

    /* Create logs directory based on backend */
    if (backend == STORAGE_BACKEND_LITTLEFS) {
        ret = fs_mkdir("/lfs/logs");
    } else {
        ret = fs_mkdir("/SD:/logs");
    }
    
    if (ret < 0 && ret != -EEXIST) {
        LOG_ERR("Error creating logs directory: %d", ret);
        return ret;
    } else if (ret == -EEXIST) {
        LOG_INF("Logs directory already exists");
    } else {
        LOG_INF("Created logs directory");
    }

    /* Get filesystem statistics */
    uint64_t free_bytes, total_bytes;
    ret = storage_get_free_space(&free_bytes, &total_bytes);
    if (ret == 0) {
        LOG_INF("Storage: %llu MB free of %llu MB total",
                free_bytes / (1024*1024), 
                total_bytes / (1024*1024));
    }

    return 0;
}

int app_init(void)
{
    int ret;

    LOG_INF("Initializing Tempo-BT application");

    /* Note: Settings are now initialized inside ble_mcumgr_init() */
    /* to ensure the device name is available before BLE starts */

    /* Initialize BLE and mcumgr - this also starts advertising */
    ret = ble_mcumgr_init();
    if (ret != 0) {
        LOG_ERR("Failed to initialize BLE/mcumgr: %d", ret);
        return ret;
    }

    /* Note: BLE advertising is already started by ble_mcumgr_init() */
    /* No need to start it again here */

    LOG_INF("Bluetooth initialized and advertising");

    /* Register custom mcumgr handlers */
    tempo_mgmt_register();

    /* Initialize DFU safety */
    dfu_safety_init();

    LOG_INF("app_init() complete");

    return 0;
}
```

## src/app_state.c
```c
/*
 * SPDX-License-Identifier: Apache-2.0
 * 
 * Tempo-BT V1 - Application State Management Implementation
 */

#include <zephyr/kernel.h>
#include <zephyr/logging/log.h>
#include <string.h>

#include "app/app_state.h"

LOG_MODULE_REGISTER(app_state, LOG_LEVEL_INF);

/* Global system state instance */
system_state_t g_system_state;

/* Mode names for logging */
static const char *mode_names[] = {
    [APP_MODE_IDLE] = "IDLE",
    [APP_MODE_ARMED] = "ARMED",
    [APP_MODE_LOGGING] = "LOGGING",
    [APP_MODE_POSTFLIGHT] = "POSTFLIGHT",
    [APP_MODE_ERROR] = "ERROR"
};

int app_state_init(void)
{
    /* Initialize mutex */
    k_mutex_init(&g_system_state.mutex);
    
    /* Lock for initialization */
    k_mutex_lock(&g_system_state.mutex, K_FOREVER);
    
    /* Set initial state */
    g_system_state.mode = APP_MODE_IDLE;
    g_system_state.boot_time_ms = k_uptime_get();
    g_system_state.mode_entry_time_ms = g_system_state.boot_time_ms;
    
    /* Initialize health metrics */
    g_system_state.health.storage_free_percent = 100;  /* Will be updated after mount */
    g_system_state.health.battery_percent = 100;       /* Placeholder for V1 */
    g_system_state.health.ble_connected = false;
    g_system_state.health.gnss_fix_valid = false;
    g_system_state.health.sensors_ok = true;           /* Assume OK until proven otherwise */
    
    /* Clear flags */
    memset(&g_system_state.flags, 0, sizeof(g_system_state.flags));
    g_system_state.flags.logging_enabled = true;       /* Default enabled */
    
    k_mutex_unlock(&g_system_state.mutex);
    
    LOG_INF("App state initialized, mode: %s", mode_names[APP_MODE_IDLE]);
    
    return 0;
}

app_mode_t app_state_get_mode(void)
{
    app_mode_t mode;
    
    k_mutex_lock(&g_system_state.mutex, K_FOREVER);
    mode = g_system_state.mode;
    k_mutex_unlock(&g_system_state.mutex);
    
    return mode;
}

int app_state_set_mode(app_mode_t new_mode)
{
    int ret = 0;
    
    if (new_mode >= ARRAY_SIZE(mode_names)) {
        return -EINVAL;
    }
    
    k_mutex_lock(&g_system_state.mutex, K_FOREVER);
    
    app_mode_t old_mode = g_system_state.mode;
    
    /* Validate state transitions */
    bool valid_transition = false;
    
    switch (old_mode) {
    case APP_MODE_IDLE:
        /* Can go to ARMED or ERROR */
        valid_transition = (new_mode == APP_MODE_ARMED || new_mode == APP_MODE_ERROR);
        break;
        
    case APP_MODE_ARMED:
        /* Can go to LOGGING, IDLE, or ERROR */
        valid_transition = (new_mode == APP_MODE_LOGGING || 
                           new_mode == APP_MODE_IDLE || 
                           new_mode == APP_MODE_ERROR);
        break;
        
    case APP_MODE_LOGGING:
        /* Can go to POSTFLIGHT or ERROR */
        valid_transition = (new_mode == APP_MODE_POSTFLIGHT || new_mode == APP_MODE_ERROR);
        break;
        
    case APP_MODE_POSTFLIGHT:
        /* Can only go to IDLE or ERROR */
        valid_transition = (new_mode == APP_MODE_IDLE || new_mode == APP_MODE_ERROR);
        break;
        
    case APP_MODE_ERROR:
        /* Can go to IDLE after recovery */
        valid_transition = (new_mode == APP_MODE_IDLE);
        break;
        
    default:
        valid_transition = false;
        break;
    }
    
    if (valid_transition) {
        g_system_state.mode = new_mode;
        g_system_state.mode_entry_time_ms = k_uptime_get();
        LOG_INF("Mode transition: %s -> %s", mode_names[old_mode], mode_names[new_mode]);
    } else {
        LOG_WRN("Invalid mode transition: %s -> %s", mode_names[old_mode], mode_names[new_mode]);
        ret = -EINVAL;
    }
    
    k_mutex_unlock(&g_system_state.mutex);
    
    return ret;
}

void app_state_get_health(app_health_t *health)
{
    if (!health) {
        return;
    }
    
    k_mutex_lock(&g_system_state.mutex, K_FOREVER);
    memcpy(health, &g_system_state.health, sizeof(app_health_t));
    k_mutex_unlock(&g_system_state.mutex);
}

void app_state_update_storage_free(uint8_t percent)
{
    k_mutex_lock(&g_system_state.mutex, K_FOREVER);
    g_system_state.health.storage_free_percent = percent;
    k_mutex_unlock(&g_system_state.mutex);
    
    LOG_DBG("Storage free: %d%%", percent);
}

bool app_state_is_logging(void)
{
    return (app_state_get_mode() == APP_MODE_LOGGING);
}
```
